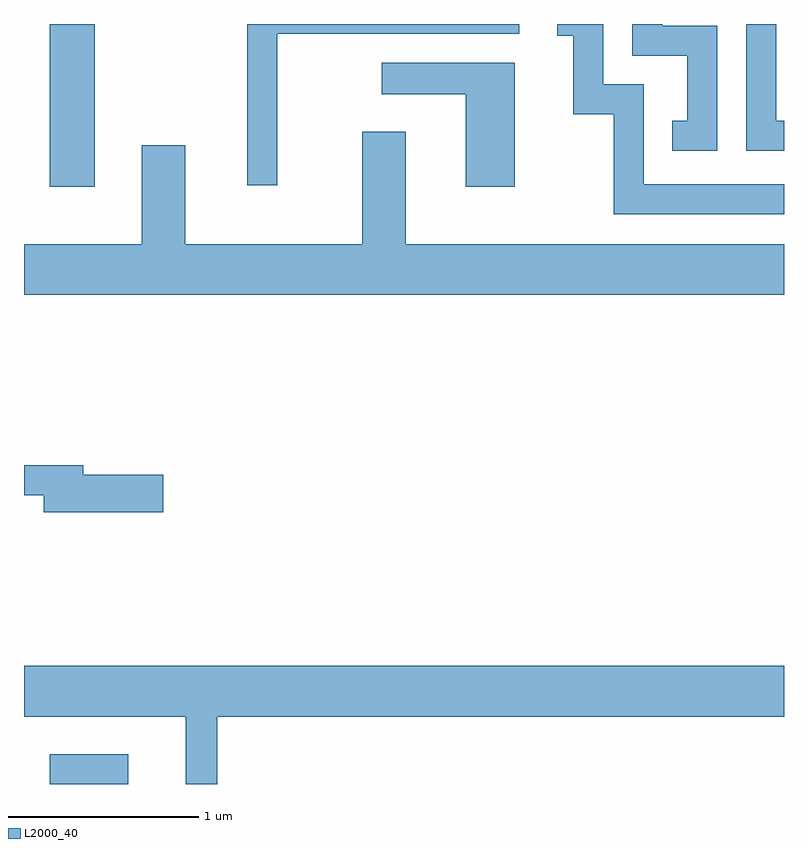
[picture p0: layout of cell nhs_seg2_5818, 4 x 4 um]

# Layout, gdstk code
import gdstk
lib = gdstk.Library(unit=1e-6, precision=1e-09)
def R(c, l, rs):  # rectangles x0, y0, x1, y1
    for r in rs: c.add(gdstk.rectangle(r[:2], r[2:], *l))
def P(c, l, *ps):  # polygons
    for p in ps: c.add(gdstk.Polygon(p, *l))
L2000_40 = (2000, 40)

nhs_seg2_5818 = lib.new_cell('nhs_seg2_5818')
R(nhs_seg2_5818, L2000_40, [(357.746,985.802,358.159,985.959), (357.746,988.946,357.984,989.802)])
P(nhs_seg2_5818, L2000_40, [(361.259,989.794),(360.969,989.794),(360.969,989.802),(360.811,989.802),(360.811,989.636),(361.101,989.636),(361.101,989.294),(361.023,989.294),(361.023,989.136),(361.259,989.136)],
  [(361.611,988.959),(360.874,988.959),(360.874,989.484),(360.659,989.484),(360.659,989.802),(360.418,989.802),(360.418,989.741),(360.501,989.741),(360.501,989.326),(360.716,989.326),(360.716,988.801),(361.611,988.801)],
  [(361.611,989.294),(361.569,989.294),(361.569,989.802),(361.411,989.802),(361.411,989.136),(361.611,989.136)],
  [(358.944,989.751),(360.218,989.751),(360.218,989.802),(358.786,989.802),(358.786,988.953),(358.944,988.953)],
  [(360.194,989.599),(359.493,989.599),(359.493,989.431),(359.936,989.431),(359.936,988.946),(360.194,988.946)],
  [(361.611,988.644),(359.619,988.644),(359.619,989.234),(359.391,989.234),(359.391,988.644),(358.459,988.644),(358.459,989.164),(358.231,989.164),(358.231,988.644),(357.611,988.644),(357.611,988.376),(361.611,988.376)],
  [(358.344,987.429),(357.924,987.429),(357.924,987.479),(357.611,987.479),(357.611,987.321),(357.716,987.321),(357.716,987.231),(358.344,987.231)],
  [(358.629,986.156),(361.611,986.156),(361.611,986.424),(357.611,986.424),(357.611,986.156),(358.461,986.156),(358.461,985.802),(358.629,985.802)])

lib.write_gds('nhs_seg2_5818.gds')
